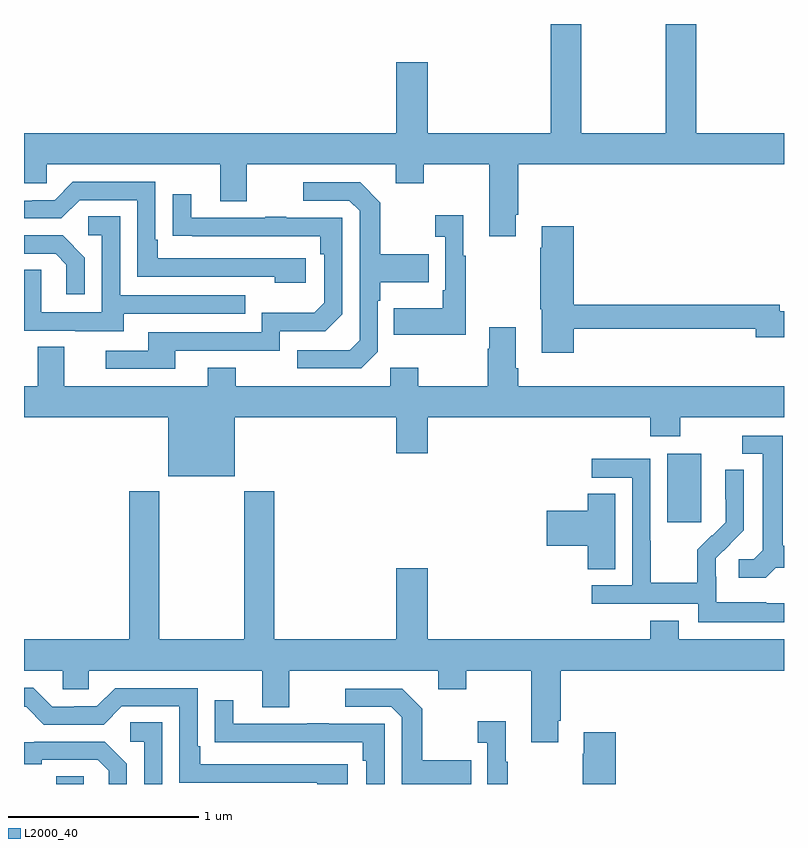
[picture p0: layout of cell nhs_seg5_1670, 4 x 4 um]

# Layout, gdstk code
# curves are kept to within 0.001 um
import gdstk
lib = gdstk.Library(unit=1e-6, precision=1e-09)
def R(c, l, rs):  # rectangles x0, y0, x1, y1
    for r in rs: c.add(gdstk.rectangle(r[:2], r[2:], *l))
def P(c, l, *ps):  # polygons
    for p in ps: c.add(gdstk.Polygon(p, *l))
L2000_40 = (2000, 40)

nhs_seg5_1670 = lib.new_cell('nhs_seg5_1670')
R(nhs_seg5_1670, L2000_40, [(211.169,886.799,211.314,886.841), (214.385,888.177,214.564,888.538)])
P(nhs_seg5_1670, L2000_40, [(213.589,889.795),(213.602,889.795),(213.602,890.06),(215,890.06),(215,890.224),(214.538,890.224),(214.538,890.799),(214.378,890.799),(214.378,890.224),(213.933,890.224),(213.933,890.799),(213.773,890.799),(213.773,890.224),(213.124,890.224),(213.124,890.599),(212.96,890.599),(212.96,890.224),(211,890.224),(211,889.962),(211.119,889.962),(211.119,890.06),(212.033,890.06),(212.033,889.866),(212.173,889.866),(212.173,890.06),(212.957,890.06),(212.957,889.961),(213.105,889.961),(213.105,890.06),(213.449,890.06),(213.449,889.683),(213.589,889.683)],
  [(212.482,889.566),(211.705,889.566),(211.705,889.663),(211.692,889.663),(211.692,889.968),(211.257,889.968),(211.161,889.872),(211.043,889.872),(211.043,889.869),(211,889.869),(211,889.776),(211.197,889.776),(211.293,889.872),(211.596,889.872),(211.596,889.47),(212.321,889.47),(212.321,889.436),(212.482,889.436)],
  [(212.862,889.074),(212.862,889.343),(212.875,889.343),(212.875,889.439),(213.131,889.439),(213.131,889.587),(212.875,889.587),(212.875,889.859),(212.769,889.965),(212.469,889.965),(212.469,889.869),(212.712,889.869),(212.766,889.815),(212.766,889.134),(212.715,889.083),(212.439,889.083),(212.439,888.987),(212.775,888.987)],
  [(211.795,889.08),(212.346,889.08),(212.346,889.182),(212.586,889.182),(212.676,889.272),(212.676,889.779),(212.381,889.779),(212.381,889.784),(212.269,889.784),(212.269,889.779),(211.879,889.779),(211.879,889.903),(211.783,889.903),(211.783,889.684),(212.56,889.683),(212.56,889.586),(212.58,889.586),(212.58,889.332),(212.527,889.279),(212.25,889.279),(212.25,889.176),(211.655,889.176),(211.655,889.08),(211.431,889.08),(211.431,888.984),(211.795,888.984)],
  [(213.325,889.579),(213.313,889.579),(213.313,889.792),(213.165,889.792),(213.165,889.679),(213.216,889.679),(213.216,889.399),(213.204,889.399),(213.204,889.303),(212.947,889.303),(212.947,889.163),(213.325,889.163)],
  [(211.525,889.275),(212.165,889.275),(212.165,889.371),(211.506,889.371),(211.506,889.787),(211.338,889.787),(211.338,889.686),(211.41,889.686),(211.41,889.281),(211.092,889.281),(211.092,889.505),(211,889.505),(211,889.185),(211.271,889.185),(211.271,889.181),(211.525,889.181)],
  [(213.893,889.194),(214.85,889.194),(214.85,889.151),(215,889.151),(215,889.286),(214.978,889.286),(214.978,889.322),(213.893,889.322),(213.893,889.735),(213.725,889.735),(213.725,889.622),(213.718,889.622),(213.718,889.299),(213.725,889.299),(213.725,889.068),(213.893,889.068)],
  [(211.32,889.57),(211.204,889.686),(211,889.686),(211,889.59),(211.166,889.59),(211.223,889.533),(211.223,889.377),(211.32,889.377)],
  [(212.11,888.728),(212.96,888.728),(212.96,888.54),(213.124,888.54),(213.124,888.728),(214.295,888.728),(214.295,888.629),(214.455,888.629),(214.455,888.728),(215,888.728),(215,888.892),(213.602,888.892),(213.602,888.988),(213.589,888.988),(213.589,889.204),(213.449,889.204),(213.449,889.091),(213.442,889.091),(213.442,888.892),(213.075,888.892),(213.075,888.991),(212.928,888.991),(212.928,888.892),(212.115,888.892),(212.115,888.991),(211.967,888.991),(211.967,888.892),(211.213,888.892),(211.213,889.1),(211.073,889.1),(211.073,888.892),(211,888.892),(211,888.728),(211.76,888.728),(211.76,888.419),(212.11,888.419)],
  [(214.956,887.937),(215,887.937),(215,888.053),(214.993,888.053),(214.993,888.633),(214.779,888.633),(214.779,888.537),(214.889,888.537),(214.889,888.029),(214.842,887.982),(214.761,887.982),(214.761,887.885),(214.904,887.885)],
  [(215,887.751),(214.907,887.751),(214.907,887.755),(214.644,887.755),(214.644,887.889),(214.642,887.889),(214.642,887.986),(214.788,888.134),(214.788,888.452),(214.692,888.452),(214.692,888.298),(214.694,888.298),(214.694,888.176),(214.623,888.105),(214.62,888.108),(214.543,888.031),(214.543,887.857),(214.299,887.857),(214.299,888.08),(214.296,888.08),(214.296,888.51),(213.987,888.51),(213.987,888.411),(214.2,888.411),(214.2,887.844),(213.987,887.844),(213.987,887.748),(214.548,887.748),(214.548,887.651),(215,887.651)],
  [(213.811,887.131),(213.824,887.131),(213.824,887.396),(215,887.396),(215,887.56),(214.447,887.56),(214.447,887.659),(214.295,887.659),(214.295,887.56),(213.124,887.56),(213.124,887.935),(212.96,887.935),(212.96,887.56),(212.318,887.56),(212.318,888.34),(212.158,888.34),(212.158,887.56),(211.713,887.56),(211.713,888.34),(211.553,888.34),(211.553,887.56),(211,887.56),(211,887.396),(211.203,887.396),(211.203,887.298),(211.341,887.298),(211.341,887.396),(212.255,887.396),(212.255,887.202),(212.395,887.202),(212.395,887.396),(213.179,887.396),(213.179,887.297),(213.327,887.297),(213.327,887.396),(213.671,887.396),(213.671,887.019),(213.811,887.019)],
  [(214.111,888.326),(213.968,888.326),(213.968,888.236),(213.75,888.236),(213.75,888.053),(213.968,888.053),(213.968,887.929),(214.111,887.929)],
  [(212.704,886.902),(211.927,886.902),(211.927,886.999),(211.914,886.999),(211.914,887.304),(211.479,887.304),(211.383,887.208),(211.265,887.208),(211.265,887.205),(211.149,887.205),(211.049,887.305),(211,887.305),(211,887.205),(211.011,887.205),(211.104,887.112),(211.419,887.112),(211.515,887.208),(211.818,887.208),(211.818,886.806),(212.543,886.806),(212.543,886.799),(212.704,886.799)],
  [(213.353,886.923),(213.097,886.923),(213.097,887.195),(212.991,887.301),(212.691,887.301),(212.691,887.205),(212.934,887.205),(212.988,887.151),(212.988,886.799),(213.353,886.799)],
  [(212.898,887.115),(212.603,887.115),(212.603,887.12),(212.491,887.12),(212.491,887.115),(212.101,887.115),(212.101,887.239),(212.005,887.239),(212.005,887.02),(212.107,887.02),(212.107,887.019),(212.782,887.019),(212.782,886.922),(212.802,886.922),(212.802,886.799),(212.898,886.799)],
  [(213.547,886.915),(213.535,886.915),(213.535,887.128),(213.387,887.128),(213.387,887.015),(213.438,887.015),(213.438,886.799),(213.547,886.799)],
  [(211.728,887.123),(211.56,887.123),(211.56,887.022),(211.632,887.022),(211.632,886.799),(211.728,886.799)],
  [(214.115,887.071),(213.947,887.071),(213.947,886.958),(213.94,886.958),(213.94,886.799),(214.115,886.799)],
  [(211.542,886.906),(211.426,887.022),(211.054,887.022),(211.054,887.019),(211,887.019),(211,886.904),(211.093,886.904),(211.093,886.926),(211.388,886.926),(211.445,886.869),(211.445,886.799),(211.542,886.799)])

lib.write_gds('nhs_seg5_1670.gds')
